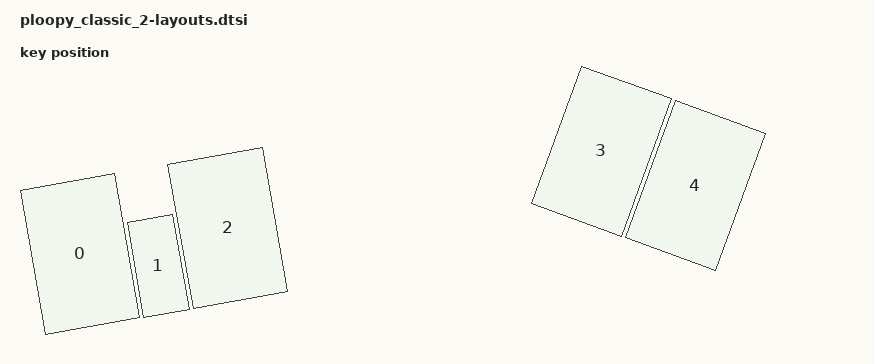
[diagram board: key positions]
#include <physical_layouts.dtsi>

/ {
    physical_layout0: physical_layout_0 {
        compatible = "zmk,physical-layout";
        display-name = "Default Layout";

        keys  //                     w   h    x    y     rot    rx    ry
            = <&key_physical_attrs 200 300    0  500 (-1000)   325   300>
            , <&key_physical_attrs 100 200  200  600 (-1000)   325   300>
            , <&key_physical_attrs 200 300  300  500 (-1000)   325   300>
            , <&key_physical_attrs 200 300 1200    0    2000   325    50>
            , <&key_physical_attrs 200 300 1400    0    2000   325    50>
            ;
    };
};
